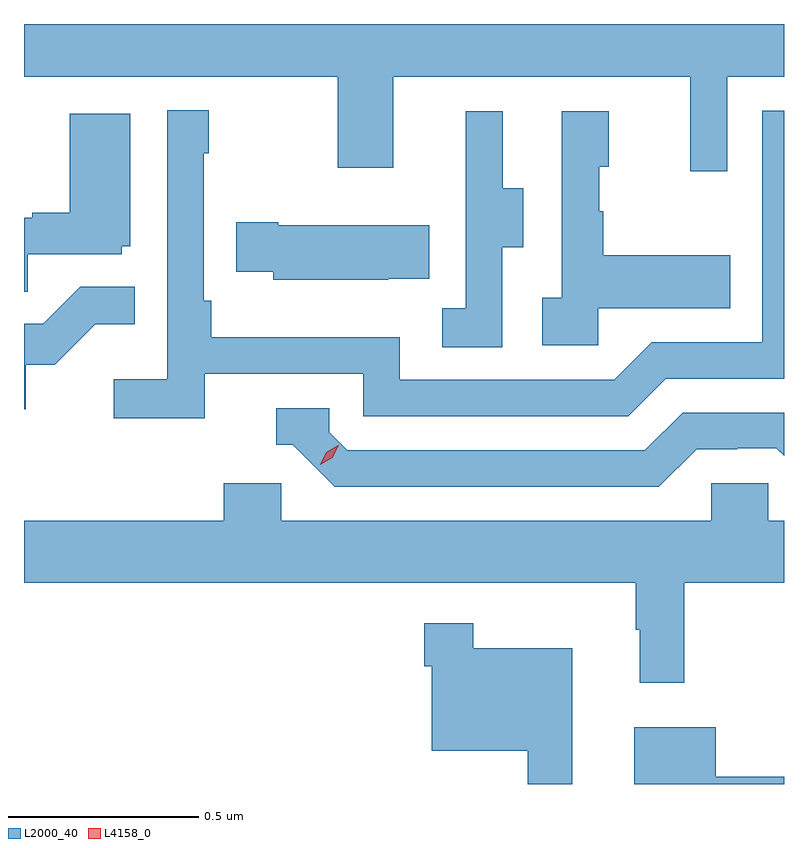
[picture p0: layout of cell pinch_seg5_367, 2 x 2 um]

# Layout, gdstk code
import gdstk
lib = gdstk.Library(unit=1e-6, precision=1e-09)
def P(c, l, *ps):  # polygons
    for p in ps: c.add(gdstk.Polygon(p, *l))
L2000_40 = (2000, 40)
L4158_0 = (4158, 0)

pinch_seg5_367 = lib.new_cell('pinch_seg5_367')
P(pinch_seg5_367, L2000_40, [(966.051,878.072),(966.201,878.072),(966.201,878.211),(964.201,878.211),(964.201,878.072),(965.026,878.072),(965.026,877.833),(965.173,877.833),(965.173,878.072),(965.954,878.072),(965.954,877.824),(966.051,877.824)],
  [(964.676,877.29),(965.094,877.29),(965.094,877.179),(965.791,877.179),(965.89,877.278),(966.201,877.278),(966.201,877.983),(966.144,877.983),(966.144,877.374),(965.853,877.374),(965.754,877.275),(965.19,877.275),(965.19,877.387),(964.694,877.387),(964.694,877.483),(964.674,877.483),(964.674,877.871),(964.687,877.871),(964.687,877.984),(964.578,877.984),(964.578,877.276),(964.437,877.276),(964.437,877.174),(964.676,877.174)],
  [(965.712,877.463),(966.059,877.463),(966.059,877.603),(965.725,877.603),(965.725,877.718),(965.715,877.718),(965.715,877.836),(965.74,877.836),(965.74,877.981),(965.616,877.981),(965.616,877.49),(965.565,877.49),(965.565,877.365),(965.712,877.365)],
  [(965.46,877.624),(965.515,877.624),(965.515,877.779),(965.461,877.779),(965.461,877.981),(965.363,877.981),(965.363,877.767),(965.364,877.767),(965.364,877.463),(965.301,877.463),(965.301,877.36),(965.46,877.36)],
  [(964.211,877.605),(964.458,877.605),(964.458,877.626),(964.48,877.626),(964.48,877.975),(964.322,877.975),(964.322,877.714),(964.223,877.714),(964.223,877.701),(964.201,877.701),(964.201,877.507),(964.211,877.507)],
  [(965.159,877.541),(965.267,877.541),(965.267,877.681),(964.87,877.681),(964.87,877.689),(964.759,877.689),(964.759,877.559),(964.857,877.559),(964.857,877.538),(965.159,877.538)],
  [(964.206,877.314),(964.282,877.314),(964.389,877.421),(964.493,877.421),(964.493,877.52),(964.349,877.52),(964.251,877.422),(964.201,877.422),(964.201,877.197),(964.206,877.197)],
  [(965.971,877.092),(966.078,877.092),(966.078,877.095),(966.181,877.095),(966.201,877.075),(966.201,877.188),(965.934,877.188),(965.835,877.089),(965.052,877.089),(965.004,877.137),(965.004,877.2),(964.865,877.2),(964.865,877.104),(964.908,877.104),(965.019,876.993),(965.872,876.993)],
  [(965.939,876.74),(966.201,876.74),(966.201,876.904),(966.159,876.904),(966.159,877.002),(966.009,877.002),(966.009,876.904),(964.878,876.904),(964.878,877.002),(964.727,877.002),(964.727,876.904),(964.201,876.904),(964.201,876.74),(965.811,876.74),(965.811,876.617),(965.822,876.617),(965.822,876.477),(965.939,876.477)],
  [(965.644,876.568),(965.383,876.568),(965.383,876.634),(965.254,876.634),(965.254,876.521),(965.274,876.521),(965.274,876.299),(965.527,876.299),(965.527,876.211),(965.644,876.211)],
  [(966.201,876.23),(966.022,876.23),(966.022,876.361),(965.807,876.361),(965.807,876.211),(966.201,876.211)])
P(pinch_seg5_367, L4158_0, [(964.981,877.051),(964.981,877.051),(964.997,877.084),(965.028,877.103),(965.029,877.103),(965.029,877.102),(965.012,877.07),(964.981,877.051)])

lib.write_gds('pinch_seg5_367.gds')
